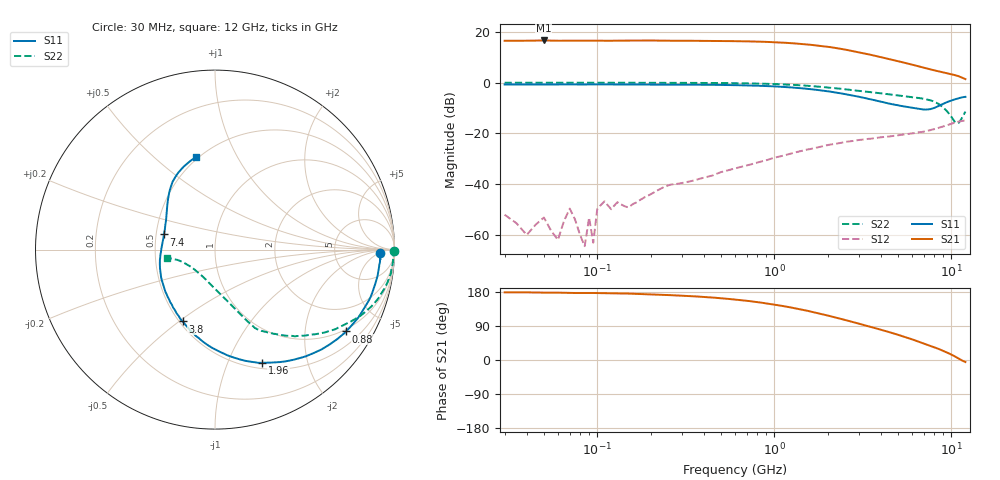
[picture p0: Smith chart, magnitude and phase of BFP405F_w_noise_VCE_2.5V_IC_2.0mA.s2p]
! Infineon Technologies  Discrete & RF Semiconductors
! BFP405F
! VCE =  2.5 V,  IC =  2.0 mA
! Common Emitter S-Parameters:  Nov 2015
# GHz  S  MA  R  50
!  f  S11  S21  S12  S22
! GHz  MAG  ANG  MAG  ANG  MAG  ANG  MAG  ANG
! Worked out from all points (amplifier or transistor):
!   239 points, 30 MHz to 12 GHz, reference 50 ohm
!   highest |S21| = 16.6 dB at 50 MHz (marker M1)
!   |S21| within 3 dB of that: start of sweep to 2.239 GHz
!   unconditionally stable (mu >= 1): 4.02 GHz to end of sweep
!   at 300 MHz: K = 0.07, MSG = 28.1 dB, |S12| = -39.6 dB
!   at 1.88 GHz: K = 0.37, MSG = 19.7 dB, |S12| = -25.0 dB
!   at 12 GHz: K = 1.68, MAG = 3.3 dB, |S12| = -14.9 dB
!   lowest NFmin = 1.01 dB at 450 MHz
!   S11 on the Smith chart (normalised r, x): 30 MHz: 23, -5; 880 MHz: 0.92, -3.25; 1.96 GHz: 0.57, -1.34; 3.8 GHz: 0.52, -0.51; 7.4 GHz: 0.55, +0.10; 12 GHz: 0.49, +0.69
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0.03  0.9204 -1.1  6.69 178.5  0.0025 117.7  0.9956 -0.5
0.04  0.9193 -1.3  6.698 178.5  0.001 148.8  0.9945 -0.7
0.05  0.9157 -2.4  6.779 177.8  0.0022 154.5  0.9967 -0.8
0.06  0.9208 -2.1  6.696 177.7  0.0008 73.5  0.9922 -1.0
0.07  0.926 -2.6  6.72 176.9  0.0033 123.1  0.9984 -1.2
0.085  0.9217 -3.2  6.704 176.8  0.0006 -110.6  0.9956 -1.6
0.09  0.9241 -3.3  6.717 176.9  0.0022 -105.5  0.9974 -1.7
0.095  0.9226 -3.5  6.704 176.8  0.0007 130.6  0.9965 -1.8
0.1  0.9211 -3.8  6.691 176.6  0.0032 95.8  0.9956 -1.9
0.11  0.9225 -4.1  6.707 176.2  0.0046 99.6  0.9951 -2.0
0.15  0.9195 -5.6  6.734 175.3  0.0035 87.6  0.994 -2.8
0.24  0.9175 -8.8  6.708 171.8  0.0089 85.9  0.9932 -4.5
0.6  0.8924 -22.0  6.566 159.5  0.0204 79.6  0.9763 -11.2
0.88  0.8608 -32.0  6.37 150.1  0.0289 75.5  0.9516 -16.2
1.64  0.738 -57.4  5.52 127.0  0.0502 63.6  0.8534 -28.2
1.96  0.6834 -67.4  5.146 118.6  0.0581 58.7  0.8099 -32.7
2.5  0.5948 -83.0  4.499 105.8  0.0677 52.6  0.7411 -39.3
3.8  0.4391 -114.3  3.311 82.7  0.082 43.0  0.6288 -49.8
4.5  0.385 -130.4  2.888 73.0  0.0874 39.9  0.5884 -53.5
7.4  0.297 163.5  1.872 39.5  0.1129 35.8  0.4593 -64.6
10.8  0.4842 113.0  1.362 5.8  0.168 26.1  0.1585 -129.9
12  0.5253 101.5  1.174 -5.3  0.1808 21.1  0.2686 -170.3
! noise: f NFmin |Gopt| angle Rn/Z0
0.45  1.01  0.58  7  0.45
0.9  1.03  0.54  15  0.46
1.5  1.15  0.52  21  0.41
1.9  1.2  0.49  29  0.4
2.4  1.39  0.46  38  0.41
3  1.47  0.43  49  0.39
3.5  1.53  0.42  59  0.36
4.5  1.72  0.35  76  0.3
5.5  1.97  0.23  93  0.22
